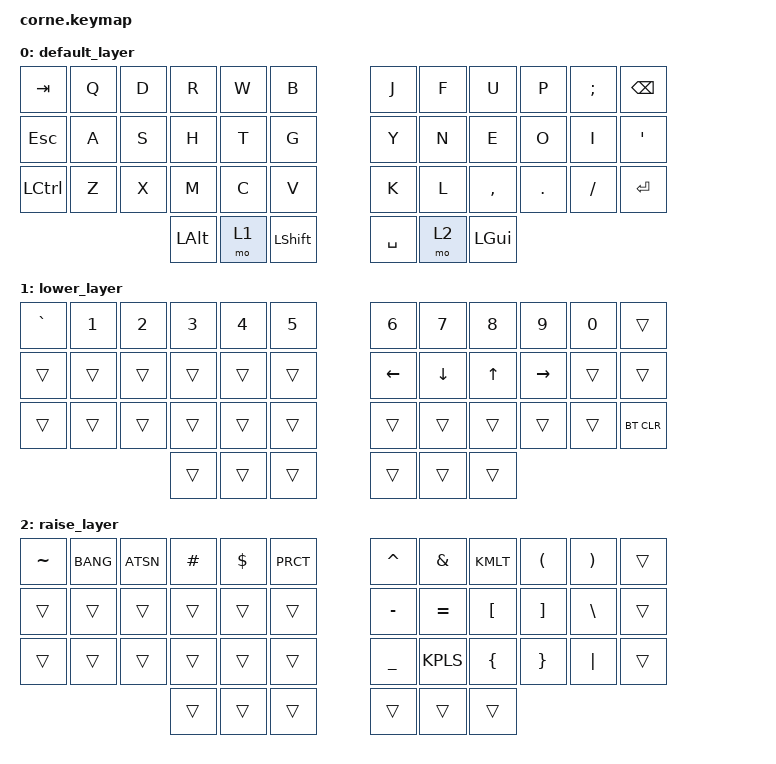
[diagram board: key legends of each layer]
#include <behaviors.dtsi>
#include <dt-bindings/zmk/bt.h>
#include <dt-bindings/zmk/keys.h>

/ {
    keymap 
    {
        compatible = "zmk,keymap";
        default_layer 
        {
            bindings = <
     // ╭─────────────┬─────────────┬─────────────┬─────────────┬─────────────┬─────────────╮   ╭─────────────┬─────────────┬─────────────┬─────────────┬─────────────┬─────────────╮
         &kp TAB       &kp Q         &kp D         &kp R         &kp W         &kp B             &kp J         &kp F         &kp U         &kp P         &kp SCLN      &kp BKSP 
     // ├─────────────┼─────────────┼─────────────┼─────────────┼─────────────┼─────────────┤   ├─────────────┼─────────────┼─────────────┼─────────────┼─────────────┼─────────────┤
         &kp ESC       &kp A         &kp S         &kp H         &kp T         &kp G             &kp Y         &kp N         &kp E         &kp O         &kp I         &kp QUOT
     // ├─────────────┼─────────────┼─────────────┼─────────────┼─────────────┼─────────────┤   ├─────────────┼─────────────┼─────────────┼─────────────┼─────────────┼─────────────┤
         &kp LCTL      &kp Z         &kp X         &kp M         &kp C         &kp V             &kp K         &kp L         &kp CMMA      &kp DOT       &kp FSLH      &kp RET
     // ╰─────────────┴─────────────┴─────────────┼─────────────┼─────────────┼─────────────┤   ├─────────────┼─────────────┼─────────────┼─────────────┴─────────────┴─────────────╯
                                                   &kp LALT      &mo 1         &kp LSHFT         &kp SPACE     &mo 2         &kp LGUI
     //                                           ╰─────────────┴─────────────┴─────────────╯   ╰─────────────┴─────────────┴─────────────╯
            >;
        };

        lower_layer 
        {
            bindings = <
     // ╭─────────────┬─────────────┬─────────────┬─────────────┬─────────────┬─────────────╮   ╭─────────────┬─────────────┬─────────────┬─────────────┬─────────────┬─────────────╮
         &kp GRAVE     &kp N1        &kp N2        &kp N3        &kp N4        &kp N5            &kp N6        &kp N7        &kp N8        &kp N9        &kp N0        &trans
     // ├─────────────┼─────────────┼─────────────┼─────────────┼─────────────┼─────────────┤   ├─────────────┼─────────────┼─────────────┼─────────────┼─────────────┼─────────────┤
         &trans        &trans        &trans        &trans        &trans        &trans            &kp LEFT      &kp DOWN      &kp UP        &kp RIGHT     &trans        &trans
     // ├─────────────┼─────────────┼─────────────┼─────────────┼─────────────┼─────────────┤   ├─────────────┼─────────────┼─────────────┼─────────────┼─────────────┼─────────────┤
         &trans        &trans        &trans        &trans        &trans        &trans            &trans        &trans        &trans        &trans        &trans        &bt BT_CLR
     // ╰─────────────┴─────────────┴─────────────┼─────────────┼─────────────┼─────────────┤   ├─────────────┼─────────────┼─────────────┼─────────────┴─────────────┴─────────────╯
                                                   &trans        &trans        &trans            &trans        &trans        &trans
     //                                           ╰─────────────┴─────────────┴─────────────╯   ╰─────────────┴─────────────┴─────────────╯
            >;
        };

        raise_layer 
        {
            bindings = <
     // ╭─────────────┬─────────────┬─────────────┬─────────────┬─────────────┬─────────────╮   ╭─────────────┬─────────────┬─────────────┬─────────────┬─────────────┬─────────────╮
         &kp TILDE     &kp BANG      &kp ATSN      &kp HASH      &kp DLLR      &kp PRCT          &kp CARET     &kp AMPS      &kp KMLT      &kp LPRN      &kp RPRN      &trans 
     // ├─────────────┼─────────────┼─────────────┼─────────────┼─────────────┼─────────────┤   ├─────────────┼─────────────┼─────────────┼─────────────┼─────────────┼─────────────┤
         &trans        &trans        &trans        &trans        &trans        &trans            &kp MINUS     &kp EQL       &kp LBKT      &kp RBKT      &kp BSLH      &trans
     // ├─────────────┼─────────────┼─────────────┼─────────────┼─────────────┼─────────────┤   ├─────────────┼─────────────┼─────────────┼─────────────┼─────────────┼─────────────┤
         &trans        &trans        &trans        &trans        &trans        &trans            &kp UNDER     &kp KPLS      &kp LBRC      &kp RBRC      &kp PIPE      &trans
     // ╰─────────────┴─────────────┴─────────────┼─────────────┼─────────────┼─────────────┤   ├─────────────┼─────────────┼─────────────┼─────────────┴─────────────┴─────────────╯
                                                   &trans        &trans        &trans            &trans        &trans        &trans
     //                                           ╰─────────────┴─────────────┴─────────────╯   ╰─────────────┴─────────────┴─────────────╯
            >;
        };
    };
};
